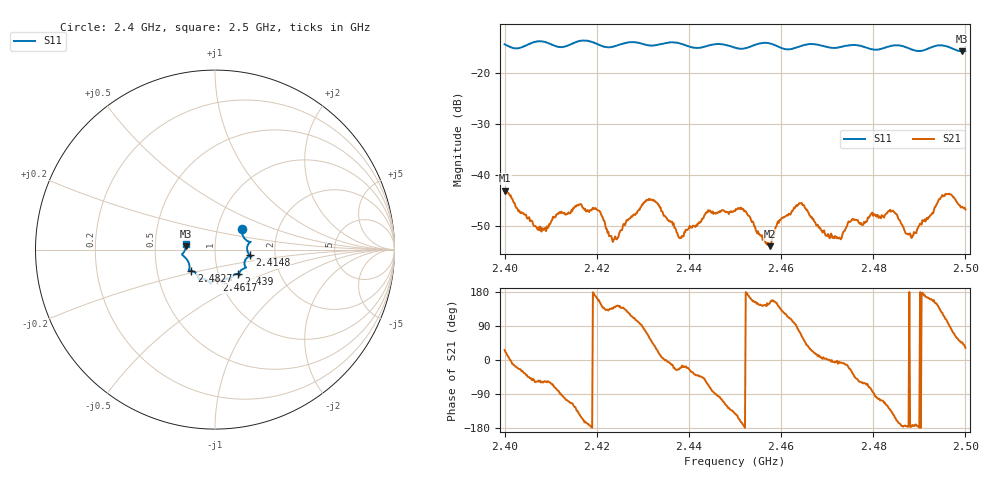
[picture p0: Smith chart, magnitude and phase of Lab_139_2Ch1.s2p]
# Hz S RI R 50
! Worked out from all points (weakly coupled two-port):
!   601 points, 2.4 GHz to 2.5 GHz, reference 50 ohm
!   highest |S21| = -43.10 dB at 2.4 GHz (marker M1); lowest = -54.0 dB at 2.4575 GHz (marker M2)
!   lowest |S11| = -15.8 dB at 2.4993 GHz (marker M3), VSWR 1.39, Z = 36.1 + j1.45 ohm
!   |S11| at or under -10 dB: start of sweep to end of sweep
!   S12 and S22 are empty: the file has one direction only
!   S11 on the Smith chart (normalised r, x): 2.4 GHz: 1.31, +0.31; 2.4148 GHz: 1.47, -0.09; 2.439 GHz: 1.24, -0.35; 2.4617 GHz: 0.96, -0.34; 2.4827 GHz: 0.75, -0.18; 2.5 GHz: 0.72, +0.05
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2.4e9  0.1513 0.1154  0.00627 0.0031  0 0  0 0
2.4075e9  0.1993 0.0432  0.00156 -0.00239  0 0  0 0
2.414833e9  0.1924 -0.0307  -0.00215 -0.00415  0 0  0 0
2.416667e9  0.2031 -0.0391  -0.0045 -0.00242  0 0  0 0
2.420333e9  0.1851 -0.0406  -0.00411 0.00173  0 0  0 0
2.423833e9  0.1641 -0.0784  -0.00181 0.00151  0 0  0 0
2.430667e9  0.154 -0.1086  0.0015 0.00528  0 0  0 0
2.433333e9  0.1365 -0.1306  0.00473 0.00182  0 0  0 0
2.439e9  0.1293 -0.1364  0.00259 -0.000874  0 0  0 0
2.45e9  0.071 -0.1614  -0.00346 -0.00272  0 0  0 0
2.4575e9  0.0445 -0.1894  -0.00171 0.00103  0 0  0 0
2.461667e9  0.00862 -0.1695  -0.00159 0.00383  0 0  0 0
2.464333e9  -0.0214 -0.1822  0.00205 0.00483  0 0  0 0
2.466667e9  -0.0263 -0.1899  0.00351 0.00159  0 0  0 0
2.4725e9  -0.0655 -0.1648  0.00237 -0.000189  0 0  0 0
2.475167e9  -0.0862 -0.166  0.00311 -0.00165  0 0  0 0
2.482667e9  -0.1324 -0.1178  -0.00185 -0.00365  0 0  0 0
2.483333e9  -0.1382 -0.1171  -0.00263 -0.00354  0 0  0 0
2.488167e9  -0.1421 -0.0948  -0.00248 -0.000143  0 0  0 0
2.495333e9  -0.1828 -0.0249  -0.00271 0.00558  0 0  0 0
2.499333e9  -0.161 0.0195  0.00334 0.00353  0 0  0 0
2.5e9  -0.1607 0.0314  0.00386 0.00243  0 0  0 0
